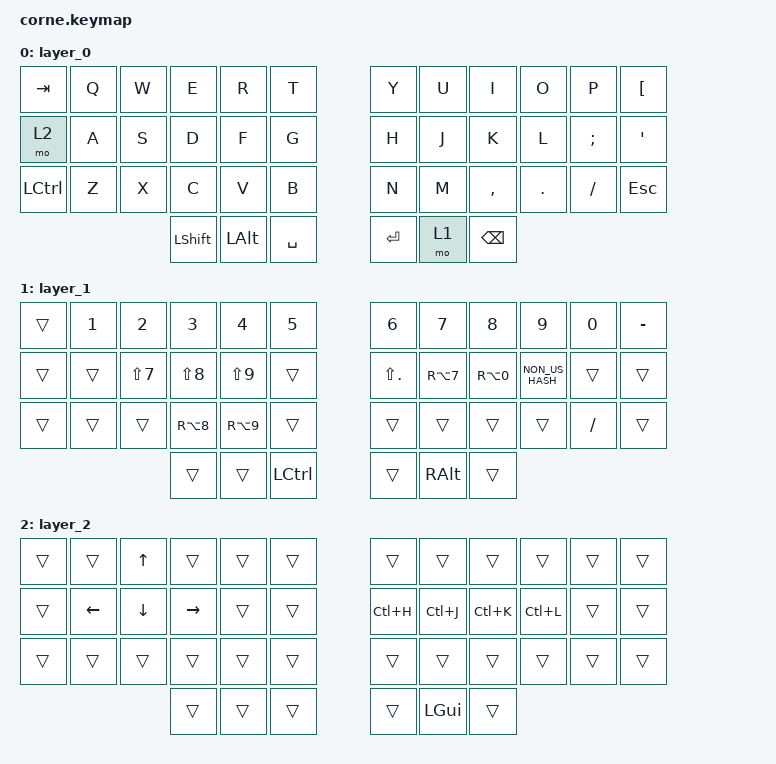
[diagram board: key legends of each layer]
/*
 * Copyright (c) 2020 The ZMK Contributors
 *
 * SPDX-License-Identifier: MIT
 */

#include <behaviors.dtsi>
#include <dt-bindings/zmk/keys.h>

/ {
    keymap {
        compatible = "zmk,keymap";

        layer_0 {
            bindings = <
&kp TAB           &kp Q  &kp W  &kp E           &kp R         &kp T        &kp Y      &kp U  &kp I          &kp O       &kp P          &kp LEFT_BRACKET
&mo 2             &kp A  &kp S  &kp D           &kp F         &kp G        &kp H      &kp J  &kp K          &kp L       &kp SEMICOLON  &kp SINGLE_QUOTE
&kp LEFT_CONTROL  &kp Z  &kp X  &kp C           &kp V         &kp B        &kp N      &kp M  &kp COMMA      &kp PERIOD  &kp SLASH      &kp ESC
                                &kp LEFT_SHIFT  &kp LEFT_ALT  &kp SPACE    &kp ENTER  &mo 1  &kp BACKSPACE
            >;
        };

        layer_1 {
            bindings = <
&trans  &kp NUMBER_1  &kp NUMBER_2      &kp NUMBER_3      &kp NUMBER_4      &kp NUMBER_5        &kp NUMBER_6    &kp NUMBER_7      &kp NUMBER_8      &kp NUMBER_9     &kp NUMBER_0  &kp MINUS
&trans  &trans        &kp LS(NUMBER_7)  &kp LS(NUMBER_8)  &kp LS(NUMBER_9)  &trans              &kp LS(PERIOD)  &kp RA(NUMBER_7)  &kp RA(NUMBER_0)  &kp NON_US_HASH  &trans        &trans
&trans  &trans        &trans            &kp RA(NUMBER_8)  &kp RA(NUMBER_9)  &trans              &trans          &trans            &trans            &trans           &kp SLASH     &trans
                                        &trans            &trans            &kp LEFT_CONTROL    &trans          &kp RIGHT_ALT     &trans
            >;
        };

        layer_2 {
            bindings = <
&trans  &trans    &kp UP_ARROW  &trans     &trans  &trans    &trans     &trans        &trans     &trans     &trans  &trans
&trans  &kp LEFT  &kp DOWN      &kp RIGHT  &trans  &trans    &kp LC(H)  &kp LC(J)     &kp LC(K)  &kp LC(L)  &trans  &trans
&trans  &trans    &trans        &trans     &trans  &trans    &trans     &trans        &trans     &trans     &trans  &trans
                                &trans     &trans  &trans    &trans     &kp LEFT_GUI  &trans
            >;
        };
    };
};
